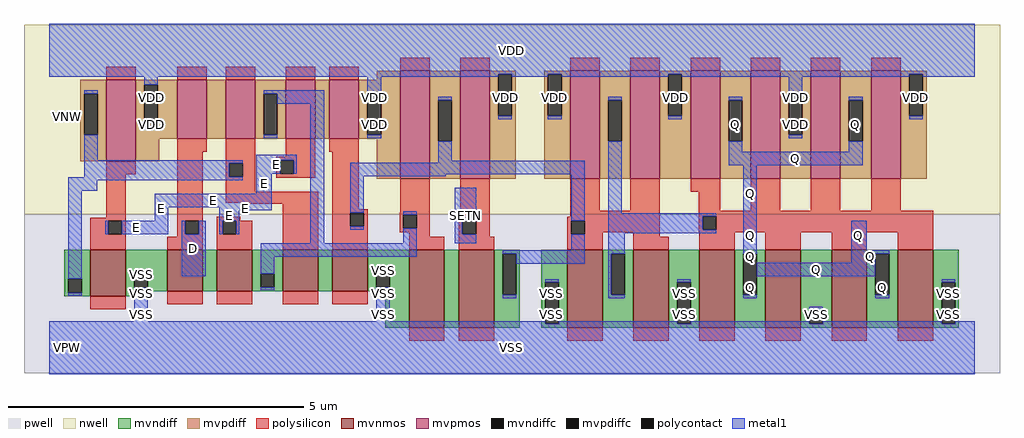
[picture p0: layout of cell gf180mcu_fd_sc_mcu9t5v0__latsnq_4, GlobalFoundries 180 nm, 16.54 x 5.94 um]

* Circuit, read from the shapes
.subckt gf180mcu_fd_sc_mcu9t5v0__latsnq_4 D E SETN Q VDD VNW VPW VSS
XM1 VSS E n1 VPW nfet_06v0 w=0.79u l=0.6u
XM2 n2 D VSS VPW nfet_06v0 w=0.7u l=0.6u
XM3 n3 E n2 VPW nfet_06v0 w=0.7u l=0.6u
XM4 n4 n1 n3 VPW nfet_06v0 w=0.7u l=0.6u
XM5 VSS n5 n4 VPW nfet_06v0 w=0.7u l=0.6u
XM6 n6 n3 VSS VPW nfet_06v0 w=1.32u l=0.6u
XM7 n5 SETN n6 VPW nfet_06v0 w=1.32u l=0.6u
XM8 n7 n5 VSS VPW nfet_06v0 w=1.32u l=0.6u m=2
XM9 Q n7 VSS VPW nfet_06v0 w=1.32u l=0.6u m=4
XM10 VDD E n1 VNW pfet_06v0 w=1.38u l=0.5u
XM11 n8 D VDD VNW pfet_06v0 w=1u l=0.5u
XM12 n3 n1 n8 VNW pfet_06v0 w=1u l=0.5u
XM13 n9 E n3 VNW pfet_06v0 w=1u l=0.5u
XM14 VDD n5 n9 VNW pfet_06v0 w=1u l=0.5u
XM15 n5 n3 VDD VNW pfet_06v0 w=1.83u l=0.5u
XM16 VDD SETN n5 VNW pfet_06v0 w=1.83u l=0.5u
XM17 n7 n5 VDD VNW pfet_06v0 w=1.83u l=0.5u m=2
XM18 Q n7 VDD VNW pfet_06v0 w=1.83u l=0.5u m=4
.ends

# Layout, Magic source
magic
tech gf180mcuD
magscale 1 10
<< nwell >>
rect -86 453 3222 1094
<< pwell >>
rect -86 -86 3222 453
<< mvnmos >>
rect 139 174 259 332
rect 399 192 519 332
rect 567 192 687 332
rect 791 192 911 332
rect 959 192 1079 332
rect 1219 68 1339 332
rect 1387 68 1507 332
rect 1755 68 1875 332
rect 1979 68 2099 332
rect 2203 68 2323 332
rect 2427 68 2547 332
rect 2651 68 2771 332
rect 2875 68 2995 332
<< mvpmos >>
rect 193 632 293 908
rect 433 708 533 908
rect 597 708 697 908
rect 801 708 901 908
rect 949 708 1049 908
rect 1189 573 1289 939
rect 1393 573 1493 939
rect 1765 573 1865 939
rect 1969 573 2069 939
rect 2173 573 2273 939
rect 2377 573 2477 939
rect 2581 573 2681 939
rect 2785 573 2885 939
<< mvndiff >>
rect 51 233 139 332
rect 51 187 64 233
rect 110 187 139 233
rect 51 174 139 187
rect 259 250 399 332
rect 259 204 288 250
rect 334 204 399 250
rect 259 192 399 204
rect 519 192 567 332
rect 687 251 791 332
rect 687 205 716 251
rect 762 205 791 251
rect 687 192 791 205
rect 911 192 959 332
rect 1079 251 1219 332
rect 1079 205 1108 251
rect 1154 205 1219 251
rect 1079 192 1219 205
rect 259 174 339 192
rect 1139 68 1219 192
rect 1339 68 1387 332
rect 1507 319 1595 332
rect 1507 179 1536 319
rect 1582 179 1595 319
rect 1507 68 1595 179
rect 1667 221 1755 332
rect 1667 81 1680 221
rect 1726 81 1755 221
rect 1667 68 1755 81
rect 1875 319 1979 332
rect 1875 179 1904 319
rect 1950 179 1979 319
rect 1875 68 1979 179
rect 2099 221 2203 332
rect 2099 81 2128 221
rect 2174 81 2203 221
rect 2099 68 2203 81
rect 2323 319 2427 332
rect 2323 179 2352 319
rect 2398 179 2427 319
rect 2323 68 2427 179
rect 2547 127 2651 332
rect 2547 81 2576 127
rect 2622 81 2651 127
rect 2547 68 2651 81
rect 2771 319 2875 332
rect 2771 179 2800 319
rect 2846 179 2875 319
rect 2771 68 2875 179
rect 2995 221 3083 332
rect 2995 81 3024 221
rect 3070 81 3083 221
rect 2995 68 3083 81
<< mvpdiff >>
rect 1109 908 1189 939
rect 105 861 193 908
rect 105 721 118 861
rect 164 721 193 861
rect 105 632 193 721
rect 293 892 433 908
rect 293 752 322 892
rect 368 752 433 892
rect 293 708 433 752
rect 533 708 597 908
rect 697 861 801 908
rect 697 721 726 861
rect 772 721 801 861
rect 697 708 801 721
rect 901 708 949 908
rect 1049 861 1189 908
rect 1049 721 1078 861
rect 1124 721 1189 861
rect 1049 708 1189 721
rect 293 632 373 708
rect 1109 573 1189 708
rect 1289 839 1393 939
rect 1289 699 1318 839
rect 1364 699 1393 839
rect 1289 573 1393 699
rect 1493 926 1581 939
rect 1493 786 1522 926
rect 1568 786 1581 926
rect 1493 573 1581 786
rect 1677 926 1765 939
rect 1677 786 1690 926
rect 1736 786 1765 926
rect 1677 573 1765 786
rect 1865 839 1969 939
rect 1865 699 1894 839
rect 1940 699 1969 839
rect 1865 573 1969 699
rect 2069 926 2173 939
rect 2069 786 2098 926
rect 2144 786 2173 926
rect 2069 573 2173 786
rect 2273 839 2377 939
rect 2273 699 2302 839
rect 2348 699 2377 839
rect 2273 573 2377 699
rect 2477 861 2581 939
rect 2477 721 2506 861
rect 2552 721 2581 861
rect 2477 573 2581 721
rect 2681 839 2785 939
rect 2681 699 2710 839
rect 2756 699 2785 839
rect 2681 573 2785 699
rect 2885 926 2973 939
rect 2885 786 2914 926
rect 2960 786 2973 926
rect 2885 573 2973 786
<< mvndiffc >>
rect 64 187 110 233
rect 288 204 334 250
rect 716 205 762 251
rect 1108 205 1154 251
rect 1536 179 1582 319
rect 1680 81 1726 221
rect 1904 179 1950 319
rect 2128 81 2174 221
rect 2352 179 2398 319
rect 2576 81 2622 127
rect 2800 179 2846 319
rect 3024 81 3070 221
<< mvpdiffc >>
rect 118 721 164 861
rect 322 752 368 892
rect 726 721 772 861
rect 1078 721 1124 861
rect 1318 699 1364 839
rect 1522 786 1568 926
rect 1690 786 1736 926
rect 1894 699 1940 839
rect 2098 786 2144 926
rect 2302 699 2348 839
rect 2506 721 2552 861
rect 2710 699 2756 839
rect 2914 786 2960 926
<< polysilicon >>
rect 193 908 293 952
rect 433 908 533 952
rect 597 908 697 952
rect 801 908 901 952
rect 949 908 1049 952
rect 1189 939 1289 983
rect 1393 939 1493 983
rect 1765 939 1865 983
rect 1969 939 2069 983
rect 2173 939 2273 983
rect 2377 939 2477 983
rect 2581 939 2681 983
rect 2785 939 2885 983
rect 433 664 533 708
rect 193 588 293 632
rect 193 441 259 588
rect 139 430 259 441
rect 139 384 200 430
rect 246 384 259 430
rect 139 332 259 384
rect 433 430 519 664
rect 597 625 697 708
rect 801 648 901 708
rect 949 664 1049 708
rect 597 579 610 625
rect 656 579 697 625
rect 597 528 697 579
rect 769 635 901 648
rect 769 589 782 635
rect 828 589 901 635
rect 769 576 901 589
rect 597 491 911 528
rect 681 488 911 491
rect 433 384 460 430
rect 506 384 519 430
rect 433 376 519 384
rect 399 332 519 376
rect 567 431 647 443
rect 567 430 687 431
rect 567 384 587 430
rect 633 384 687 430
rect 567 332 687 384
rect 791 332 911 488
rect 959 470 1049 664
rect 959 457 1079 470
rect 1189 458 1289 573
rect 959 411 1020 457
rect 1066 411 1079 457
rect 959 332 1079 411
rect 1187 451 1289 458
rect 1187 405 1200 451
rect 1246 405 1289 451
rect 1393 441 1493 573
rect 1765 464 1865 573
rect 1969 464 2069 573
rect 2173 529 2273 573
rect 1765 443 2069 464
rect 1187 392 1289 405
rect 1219 376 1289 392
rect 1387 430 1493 441
rect 1387 384 1400 430
rect 1446 384 1493 430
rect 1387 376 1493 384
rect 1755 430 2069 443
rect 1755 384 1768 430
rect 1814 392 2069 430
rect 2201 464 2273 529
rect 2377 464 2477 573
rect 2581 464 2681 573
rect 2785 464 2885 573
rect 2201 445 2995 464
rect 2201 399 2214 445
rect 2260 399 2995 445
rect 2201 392 2995 399
rect 1814 384 1875 392
rect 1219 332 1339 376
rect 1387 332 1507 376
rect 1755 332 1875 384
rect 1979 376 2069 392
rect 1979 332 2099 376
rect 2203 332 2323 392
rect 2427 332 2547 392
rect 2651 332 2771 392
rect 2875 332 2995 392
rect 139 130 259 174
rect 399 148 519 192
rect 567 148 687 192
rect 791 148 911 192
rect 959 148 1079 192
rect 1219 24 1339 68
rect 1387 24 1507 68
rect 1755 24 1875 68
rect 1979 24 2099 68
rect 2203 24 2323 68
rect 2427 24 2547 68
rect 2651 24 2771 68
rect 2875 24 2995 68
<< polycontact >>
rect 200 384 246 430
rect 610 579 656 625
rect 782 589 828 635
rect 460 384 506 430
rect 587 384 633 430
rect 1020 411 1066 457
rect 1200 405 1246 451
rect 1400 384 1446 430
rect 1768 384 1814 430
rect 2214 399 2260 445
<< metal1 >>
rect 0 926 3136 1098
rect 0 918 1522 926
rect 322 892 368 918
rect 118 861 164 872
rect 322 741 368 752
rect 726 861 931 872
rect 118 636 164 721
rect 772 826 931 861
rect 726 710 772 721
rect 118 625 656 636
rect 118 579 610 625
rect 118 578 656 579
rect 64 568 656 578
rect 702 635 839 654
rect 702 589 782 635
rect 828 589 839 635
rect 64 532 163 568
rect 64 233 110 532
rect 702 522 754 589
rect 357 476 754 522
rect 357 430 403 476
rect 576 466 754 476
rect 576 430 644 466
rect 189 384 200 430
rect 246 384 403 430
rect 449 384 460 430
rect 506 384 530 430
rect 576 384 587 430
rect 633 384 644 430
rect 64 176 110 187
rect 288 250 334 261
rect 449 242 530 384
rect 885 354 931 826
rect 1078 861 1124 918
rect 1078 710 1124 721
rect 1318 839 1364 850
rect 1568 918 1690 926
rect 1522 775 1568 786
rect 1736 918 2098 926
rect 1690 775 1736 786
rect 1894 839 1940 850
rect 1318 634 1364 699
rect 2144 918 2914 926
rect 2506 861 2552 918
rect 2098 775 2144 786
rect 2302 839 2348 850
rect 1318 627 1814 634
rect 1020 588 1814 627
rect 1020 581 1343 588
rect 1020 457 1066 581
rect 1020 400 1066 411
rect 1200 451 1246 462
rect 1200 354 1246 405
rect 1374 430 1446 542
rect 1374 384 1400 430
rect 1374 354 1446 384
rect 1768 430 1814 588
rect 716 308 1246 354
rect 1768 330 1814 384
rect 1536 319 1814 330
rect 716 251 762 308
rect 288 90 334 204
rect 716 194 762 205
rect 1108 251 1154 262
rect 1108 90 1154 205
rect 1582 284 1814 319
rect 1894 456 1940 699
rect 2506 710 2552 721
rect 2710 839 2756 850
rect 2302 664 2348 699
rect 2960 918 3136 926
rect 2914 775 2960 786
rect 2710 664 2756 699
rect 2302 618 2756 664
rect 1894 445 2260 456
rect 1894 399 2214 445
rect 1894 388 2260 399
rect 1894 319 1950 388
rect 1536 168 1582 179
rect 1680 221 1726 232
rect 0 81 1680 90
rect 1894 179 1904 319
rect 2352 319 2398 618
rect 1894 168 1950 179
rect 2128 221 2174 232
rect 1726 81 2128 90
rect 2718 330 2770 430
rect 2718 319 2846 330
rect 2718 288 2800 319
rect 2398 242 2800 288
rect 2352 168 2398 179
rect 2800 168 2846 179
rect 3024 221 3070 232
rect 2576 127 2622 138
rect 2174 81 2576 90
rect 2622 81 3024 90
rect 3070 81 3136 90
rect 0 -90 3136 81
<< labels >>
flabel metal1 s 449 242 530 430 0 FreeSans 200 0 0 0 D
port 1 nsew default input
flabel metal1 s 702 589 839 654 0 FreeSans 200 0 0 0 E
port 2 nsew clock input
flabel metal1 s 2710 664 2756 850 0 FreeSans 200 0 0 0 Q
port 4 nsew default output
flabel metal1 s 1374 354 1446 542 0 FreeSans 200 0 0 0 SETN
port 3 nsew default input
flabel metal1 s 0 918 3136 1098 0 FreeSans 200 0 0 0 VDD
port 5 nsew power bidirectional abutment
flabel metal1 s 1108 261 1154 262 0 FreeSans 200 0 0 0 VSS
port 8 nsew ground bidirectional abutment
flabel nwell s 10 734 110 834 0 FreeSans 400 0 0 0 VNW
port 6 nsew power bidirectional
flabel pwell s 10 -50 110 50 0 FreeSans 400 0 0 0 VPW
port 7 nsew ground bidirectional
rlabel metal1 s 702 522 754 589 1 E
port 2 nsew clock input
rlabel metal1 s 357 476 754 522 1 E
port 2 nsew clock input
rlabel metal1 s 576 466 754 476 1 E
port 2 nsew clock input
rlabel metal1 s 357 466 403 476 1 E
port 2 nsew clock input
rlabel metal1 s 576 430 644 466 1 E
port 2 nsew clock input
rlabel metal1 s 357 430 403 466 1 E
port 2 nsew clock input
rlabel metal1 s 576 384 644 430 1 E
port 2 nsew clock input
rlabel metal1 s 189 384 403 430 1 E
port 2 nsew clock input
rlabel metal1 s 2302 664 2348 850 1 Q
port 4 nsew default output
rlabel metal1 s 2302 618 2756 664 1 Q
port 4 nsew default output
rlabel metal1 s 2352 430 2398 618 1 Q
port 4 nsew default output
rlabel metal1 s 2718 330 2770 430 1 Q
port 4 nsew default output
rlabel metal1 s 2352 330 2398 430 1 Q
port 4 nsew default output
rlabel metal1 s 2718 288 2846 330 1 Q
port 4 nsew default output
rlabel metal1 s 2352 288 2398 330 1 Q
port 4 nsew default output
rlabel metal1 s 2352 242 2846 288 1 Q
port 4 nsew default output
rlabel metal1 s 2800 168 2846 242 1 Q
port 4 nsew default output
rlabel metal1 s 2352 168 2398 242 1 Q
port 4 nsew default output
rlabel metal1 s 2914 775 2960 918 1 VDD
port 5 nsew power bidirectional abutment
rlabel metal1 s 2506 775 2552 918 1 VDD
port 5 nsew power bidirectional abutment
rlabel metal1 s 2098 775 2144 918 1 VDD
port 5 nsew power bidirectional abutment
rlabel metal1 s 1690 775 1736 918 1 VDD
port 5 nsew power bidirectional abutment
rlabel metal1 s 1522 775 1568 918 1 VDD
port 5 nsew power bidirectional abutment
rlabel metal1 s 1078 775 1124 918 1 VDD
port 5 nsew power bidirectional abutment
rlabel metal1 s 322 775 368 918 1 VDD
port 5 nsew power bidirectional abutment
rlabel metal1 s 2506 741 2552 775 1 VDD
port 5 nsew power bidirectional abutment
rlabel metal1 s 1078 741 1124 775 1 VDD
port 5 nsew power bidirectional abutment
rlabel metal1 s 322 741 368 775 1 VDD
port 5 nsew power bidirectional abutment
rlabel metal1 s 2506 710 2552 741 1 VDD
port 5 nsew power bidirectional abutment
rlabel metal1 s 1078 710 1124 741 1 VDD
port 5 nsew power bidirectional abutment
rlabel metal1 s 1108 232 1154 261 1 VSS
port 8 nsew ground bidirectional abutment
rlabel metal1 s 288 232 334 261 1 VSS
port 8 nsew ground bidirectional abutment
rlabel metal1 s 3024 138 3070 232 1 VSS
port 8 nsew ground bidirectional abutment
rlabel metal1 s 2128 138 2174 232 1 VSS
port 8 nsew ground bidirectional abutment
rlabel metal1 s 1680 138 1726 232 1 VSS
port 8 nsew ground bidirectional abutment
rlabel metal1 s 1108 138 1154 232 1 VSS
port 8 nsew ground bidirectional abutment
rlabel metal1 s 288 138 334 232 1 VSS
port 8 nsew ground bidirectional abutment
rlabel metal1 s 3024 90 3070 138 1 VSS
port 8 nsew ground bidirectional abutment
rlabel metal1 s 2576 90 2622 138 1 VSS
port 8 nsew ground bidirectional abutment
rlabel metal1 s 2128 90 2174 138 1 VSS
port 8 nsew ground bidirectional abutment
rlabel metal1 s 1680 90 1726 138 1 VSS
port 8 nsew ground bidirectional abutment
rlabel metal1 s 1108 90 1154 138 1 VSS
port 8 nsew ground bidirectional abutment
rlabel metal1 s 288 90 334 138 1 VSS
port 8 nsew ground bidirectional abutment
rlabel metal1 s 0 -90 3136 90 1 VSS
port 8 nsew ground bidirectional abutment
<< properties >>
string FIXED_BBOX 0 0 3136 1008
string GDS_END 1069260
string GDS_FILE $PDKPATH/libs.ref/gf180mcu_fd_sc_mcu9t5v0/gds/gf180mcu_fd_sc_mcu9t5v0.gds
string GDS_START 1061288
string LEFclass core
string LEFsite GF018hv5v_green_sc9
string LEFsymmetry X Y
<< end >>
